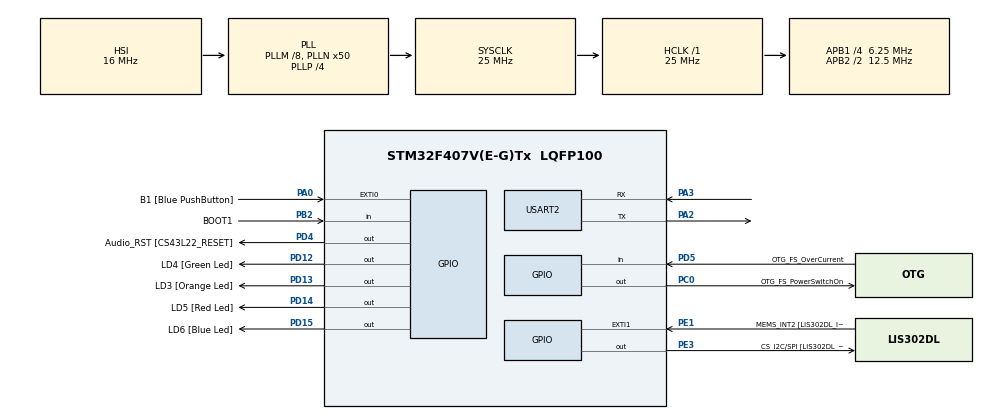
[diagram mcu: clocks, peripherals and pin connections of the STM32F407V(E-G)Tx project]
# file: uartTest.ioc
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Mcu.Family=STM32F4
Mcu.Name=STM32F407V(E-G)Tx
Mcu.Package=LQFP100
NVIC.PriorityGroup=NVIC_PRIORITYGROUP_0
PA0-WKUP.GPIO_Label=B1 [Blue PushButton]
PA0-WKUP.Signal=GPXTI0
PA10.GPIO_Label=OTG_FS_ID
PA10.GPIO_Mode=GPIO_MODE_AF_PP
PA10.GPIO_PuPd=GPIO_NOPULL
PA10.GPIO_Speed=GPIO_SPEED_FREQ_LOW
PA10.Signal=USB_OTG_FS_ID
PA11.GPIO_Label=OTG_FS_DM
PA11.GPIO_Mode=GPIO_MODE_AF_PP
PA11.GPIO_PuPd=GPIO_NOPULL
PA11.GPIO_Speed=GPIO_SPEED_FREQ_LOW
PA11.Signal=USB_OTG_FS_DM
PA12.GPIO_Label=OTG_FS_DP
PA12.GPIO_Mode=GPIO_MODE_AF_PP
PA12.GPIO_PuPd=GPIO_NOPULL
PA12.GPIO_Speed=GPIO_SPEED_FREQ_LOW
PA12.Signal=USB_OTG_FS_DP
PA13.GPIO_Label=SWDIO
PA13.Signal=SYS_JTMS-SWDIO
PA14.GPIO_Label=SWCLK
PA14.Signal=SYS_JTCK-SWCLK
PA2.Mode=Asynchronous
PA2.Signal=USART2_TX
PA3.Mode=Asynchronous
PA3.Signal=USART2_RX
PA4.GPIO_Label=I2S3_WS [CS43L22_LRCK]
PA4.GPIO_Mode=GPIO_MODE_AF_PP
PA4.GPIO_PuPd=GPIO_NOPULL
PA4.GPIO_Speed=GPIO_SPEED_FREQ_LOW
PA4.Signal=I2S3_WS
PA5.GPIO_Label=SPI1_SCK [LIS302DL_SCL/SPC]
PA5.GPIO_Mode=GPIO_MODE_AF_PP
PA5.GPIO_PuPd=GPIO_NOPULL
PA5.GPIO_Speed=GPIO_SPEED_FREQ_LOW
PA5.Signal=SPI1_SCK
PA6.GPIO_Label=SPI1_MISO [LIS302DL_SDO]
PA6.GPIO_Mode=GPIO_MODE_AF_PP
PA6.GPIO_PuPd=GPIO_NOPULL
PA6.GPIO_Speed=GPIO_SPEED_FREQ_LOW
PA6.Signal=SPI1_MISO
PA7.GPIO_Label=SPI1_MOSI [LIS302DL_SDA/SDI/SDO]
PA7.GPIO_Mode=GPIO_MODE_AF_PP
PA7.GPIO_PuPd=GPIO_NOPULL
PA7.GPIO_Speed=GPIO_SPEED_FREQ_LOW
PA7.Signal=SPI1_MOSI
PA9.GPIO_Label=VBUS_FS
PA9.GPIO_Mode=GPIO_MODE_INPUT
PA9.GPIO_PuPd=GPIO_NOPULL
PA9.Signal=USB_OTG_FS_VBUS
PB10.GPIO_Label=CLK_IN [MP45DT02_CLK]
PB10.GPIO_Mode=GPIO_MODE_AF_PP
PB10.GPIO_PuPd=GPIO_NOPULL
PB10.GPIO_Speed=GPIO_SPEED_FREQ_LOW
PB10.Signal=I2S2_CK
PB2.GPIO_Label=BOOT1
PB2.GPIO_Mode=GPIO_MODE_INPUT
PB2.GPIO_PuPd=GPIO_NOPULL
PB2.Signal=GPIO_Input
PB3.GPIO_Label=SWO
PB3.Signal=SYS_JTDO-SWO
PB6.GPIO_Label=Audio_SCL [CS43L22_SCL]
PB6.GPIO_Mode=GPIO_MODE_AF_OD
PB6.GPIO_PuPd=GPIO_NOPULL
PB6.GPIO_Speed=GPIO_SPEED_FREQ_LOW
PB6.Signal=I2C1_SCL
PB9.GPIO_Label=Audio_SDA [CS43L22_SDA]
PB9.GPIO_Mode=GPIO_MODE_AF_OD
PB9.GPIO_PuPd=GPIO_NOPULL
PB9.GPIO_Speed=GPIO_SPEED_FREQ_LOW
PB9.Signal=I2C1_SDA
PC0.GPIO_Label=OTG_FS_PowerSwitchOn
PC0.GPIO_PuPd=GPIO_NOPULL
PC0.GPIO_Speed=GPIO_SPEED_FREQ_LOW
PC0.PinState=GPIO_PIN_SET
PC0.Signal=GPIO_Output
PC10.GPIO_Label=I2S3_SCK [CS43L22_SCLK]
PC10.GPIO_Mode=GPIO_MODE_AF_PP
PC10.GPIO_PuPd=GPIO_NOPULL
PC10.GPIO_Speed=GPIO_SPEED_FREQ_LOW
PC10.Signal=I2S3_CK
PC12.GPIO_Label=I2S3_SD [CS43L22_SDIN]
PC12.GPIO_Mode=GPIO_MODE_AF_PP
PC12.GPIO_PuPd=GPIO_NOPULL
PC12.GPIO_Speed=GPIO_SPEED_FREQ_LOW
PC12.Signal=I2S3_SD
PC14-OSC32_IN.GPIO_Label=PC14-OSC32_IN
PC14-OSC32_IN.Signal=RCC_OSC32_IN
PC15-OSC32_OUT.GPIO_Label=PC15-OSC32_OUT
PC15-OSC32_OUT.Signal=RCC_OSC32_OUT
PC3.GPIO_Label=PDM_OUT [MP45DT02_DOUT]
PC3.GPIO_Mode=GPIO_MODE_AF_PP
PC3.GPIO_PuPd=GPIO_NOPULL
PC3.GPIO_Speed=GPIO_SPEED_FREQ_LOW
PC3.Signal=I2S2_SD
PC7.GPIO_Label=I2S3_MCK [CS43L22_MCLK]
PC7.GPIO_Mode=GPIO_MODE_AF_PP
PC7.GPIO_PuPd=GPIO_NOPULL
PC7.GPIO_Speed=GPIO_SPEED_FREQ_LOW
PC7.Signal=I2S3_MCK
PD12.GPIO_Label=LD4 [Green Led]
PD12.GPIO_PuPd=GPIO_NOPULL
PD12.GPIO_Speed=GPIO_SPEED_FREQ_LOW
PD12.Signal=GPIO_Output
PD13.GPIO_Label=LD3 [Orange Led]
PD13.GPIO_PuPd=GPIO_NOPULL
PD13.GPIO_Speed=GPIO_SPEED_FREQ_LOW
PD13.Signal=GPIO_Output
PD14.GPIO_Label=LD5 [Red Led]
PD14.GPIO_PuPd=GPIO_NOPULL
PD14.GPIO_Speed=GPIO_SPEED_FREQ_LOW
PD14.Signal=GPIO_Output
PD15.GPIO_Label=LD6 [Blue Led]
PD15.GPIO_PuPd=GPIO_NOPULL
PD15.GPIO_Speed=GPIO_SPEED_FREQ_LOW
PD15.Signal=GPIO_Output
PD4.GPIO_Label=Audio_RST [CS43L22_RESET]
PD4.GPIO_PuPd=GPIO_NOPULL
PD4.GPIO_Speed=GPIO_SPEED_FREQ_LOW
PD4.Signal=GPIO_Output
PD5.GPIO_Label=OTG_FS_OverCurrent
PD5.GPIO_Mode=GPIO_MODE_INPUT
PD5.GPIO_PuPd=GPIO_NOPULL
PD5.Signal=GPIO_Input
PE1.GPIO_Label=MEMS_INT2 [LIS302DL_INT2]
PE1.GPIO_ModeDefaultEXTI=GPIO_MODE_EVT_RISING
PE1.GPIO_PuPd=GPIO_NOPULL
PE1.Signal=GPXTI1
PE3.GPIO_Label=CS_I2C/SPI [LIS302DL_CS_I2C/SPI]
PE3.GPIO_PuPd=GPIO_NOPULL
PE3.GPIO_Speed=GPIO_SPEED_FREQ_LOW
PE3.Signal=GPIO_Output
PH0-OSC_IN.GPIO_Label=PH0-OSC_IN
PH0-OSC_IN.Signal=RCC_OSC_IN
PH1-OSC_OUT.GPIO_Label=PH1-OSC_OUT
PH1-OSC_OUT.Signal=RCC_OSC_OUT
ProjectManager.HeapSize=0x200
ProjectManager.StackSize=0x400
ProjectManager.TargetToolchain=MDK-ARM V5.32
RCC.48MHZClocksFreq_Value=14285714.285714285
RCC.AHBFreq_Value=25000000
RCC.APB1CLKDivider=RCC_HCLK_DIV4
RCC.APB1Freq_Value=6250000
RCC.APB1TimFreq_Value=12500000
RCC.APB2CLKDivider=RCC_HCLK_DIV2
RCC.APB2Freq_Value=12500000
RCC.APB2TimFreq_Value=25000000
RCC.CortexFreq_Value=25000000
RCC.HCLKFreq_Value=25000000
RCC.HSE_VALUE=8000000
RCC.HSI_VALUE=16000000
RCC.LSE_VALUE=32768
RCC.PLLM=8
RCC.PLLN=50
RCC.PLLP=RCC_PLLP_DIV4
RCC.PLLQ=7
RCC.SYSCLKFreq_VALUE=25000000
RCC.SYSCLKSource=RCC_SYSCLKSOURCE_PLLCLK
RCC.VCOOutputFreq_Value=100000000
USART2.VirtualMode=VM_ASYNC
board=STM32F407G-DISC1

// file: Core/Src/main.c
/* USER CODE BEGIN Header */
/**
  ******************************************************************************
  * @file           : main.c
  * @brief          : Main program body
  ******************************************************************************
  * @attention
  *
  * Copyright (c) 2024 STMicroelectronics.
  * All rights reserved.
  *
  * This software is licensed under terms that can be found in the LICENSE file
  * in the root directory of this software component.
  * If no LICENSE file comes with this software, it is provided AS-IS.
  *
  ******************************************************************************
  */
/* USER CODE END Header */
#include "main.h"
#include "string.h"

UART_HandleTypeDef huart2;

void SystemClock_Config(void);
static void MX_GPIO_Init(void);
static void MX_USART2_UART_Init(void);

/* USER CODE BEGIN PFP */
uint8_t USART2_ReceiveByte(void);
void USART2_SendByte(uint8_t byte);
void readString(const char *str);
char ReadChar(const char str, int index);
void led_on(const char *str);
/* USER CODE END PFP */

/* USER CODE BEGIN 0 */
void USART2_SendByte(uint8_t byte) {
	while ((USART2->SR & USART_SR_TXE) == 0){}
    USART2->DR = byte;
}

void led_on(const char *str) {
		if(strcmp(str, "Led On")) {
			HAL_GPIO_TogglePin(GPIOD, GPIO_PIN_15);//blue led
		}
}
void readString(const char *str) {
	const uint32_t rbuf_size=6;
	static char rbuf[rbuf_size];
	static uint32_t pos = 0;
	char buff;
	int lenght = strlen(str);
	while(*str) {
		while ((USART2->SR & USART_SR_TXE) == 0){};
			USART2->DR = str[pos];
			while ((USART2->SR & USART_SR_RXNE) == 0) {};
			rbuf[pos] = USART2->DR;
			if((rbuf_size - 1) == pos || rbuf[pos] == '\0') {
				pos = 0;
				led_on(rbuf);
			} else {
				pos++;
				str++;
				HAL_GPIO_TogglePin(GPIOD, GPIO_PIN_13);// orange led
				HAL_Delay(1000);
			}
	}
}

char ReadChar(const char str, int index) {
	char buff[1];
	//while ((USART2->SR & USART_SR_RXNE) == 0);
	return buff[0] = str;

}
uint8_t USART2_ReceiveByte(void) {
   // while ((USART2->SR & USART_SR_RXNE) == 0);
    return USART2->DR;
}
/* USER CODE END 0 */

int main(void)
{
  /* USER CODE BEGIN 1 */
USART2->CR1 |= 1 << 3;
	USART2->CR1 |= 1 << 13;
	USART2->CR1 |= 0 << 8;
	USART2->CR1 |= 0 << 7;
	USART2->CR1 |= 0 << 6;
  /* USER CODE END 1 */

  /* MCU Configuration--------------------------------------------------------*/

  /* Reset of all peripherals, Initializes the Flash interface and the Systick. */
  HAL_Init();

  /* Configure the system clock */
  SystemClock_Config();

  /* Initialize all configured peripherals */
  MX_GPIO_Init();
  MX_USART2_UART_Init();

  /* Infinite loop */
  /* USER CODE BEGIN WHILE */
  while (1)
  {

			const char LedOn[] = "Led On";
			readString(LedOn);

			HAL_Delay(1000);
			HAL_GPIO_TogglePin(GPIOD, GPIO_PIN_12);// green led
    /* USER CODE END WHILE */

  }
}

void SystemClock_Config(void)
{
  RCC_OscInitTypeDef RCC_OscInitStruct = {0};
  RCC_ClkInitTypeDef RCC_ClkInitStruct = {0};

  /** Configure the main internal regulator output voltage
  */
  __HAL_RCC_PWR_CLK_ENABLE();
  __HAL_PWR_VOLTAGESCALING_CONFIG(PWR_REGULATOR_VOLTAGE_SCALE1);
  /** Initializes the RCC Oscillators according to the specified parameters
  * in the RCC_OscInitTypeDef structure.
  */
  RCC_OscInitStruct.OscillatorType = RCC_OSCILLATORTYPE_HSI;
  RCC_OscInitStruct.HSIState = RCC_HSI_ON;
  RCC_OscInitStruct.HSICalibrationValue = RCC_HSICALIBRATION_DEFAULT;
  RCC_OscInitStruct.PLL.PLLState = RCC_PLL_ON;
  RCC_OscInitStruct.PLL.PLLSource = RCC_PLLSOURCE_HSI;
  RCC_OscInitStruct.PLL.PLLM = 8;
  RCC_OscInitStruct.PLL.PLLN = 50;
  RCC_OscInitStruct.PLL.PLLP = RCC_PLLP_DIV4;
  RCC_OscInitStruct.PLL.PLLQ = 7;
  if (HAL_RCC_OscConfig(&RCC_OscInitStruct) != HAL_OK)
  {
    Error_Handler();
  }
  /** Initializes the CPU, AHB and APB buses clocks
  */
  RCC_ClkInitStruct.ClockType = RCC_CLOCKTYPE_HCLK|RCC_CLOCKTYPE_SYSCLK
                              |RCC_CLOCKTYPE_PCLK1|RCC_CLOCKTYPE_PCLK2;
  RCC_ClkInitStruct.SYSCLKSource = RCC_SYSCLKSOURCE_PLLCLK;
  RCC_ClkInitStruct.AHBCLKDivider = RCC_SYSCLK_DIV1;
  RCC_ClkInitStruct.APB1CLKDivider = RCC_HCLK_DIV4;
  RCC_ClkInitStruct.APB2CLKDivider = RCC_HCLK_DIV2;

  if (HAL_RCC_ClockConfig(&RCC_ClkInitStruct, FLASH_LATENCY_0) != HAL_OK)
  {
    Error_Handler();
  }
}

static void MX_USART2_UART_Init(void)
{

  /* USER CODE BEGIN USART2_Init 0 */
	RCC->APB1ENR |= RCC_APB1ENR_USART2EN;

	GPIOA->MODER |= GPIO_MODER_MODER2_1 | GPIO_MODER_MODER3_1;
    GPIOA->AFR[0] |= (7 << 8) | (7 << 12);

	USART2->CR1 |= USART_CR1_TE | USART_CR1_RE | USART_CR1_UE;
  /* USER CODE END USART2_Init 0 */

  huart2.Instance = USART2;
  huart2.Init.BaudRate = 115200;
  huart2.Init.WordLength = UART_WORDLENGTH_8B;
  huart2.Init.StopBits = UART_STOPBITS_1;
  huart2.Init.Parity = UART_PARITY_NONE;
  huart2.Init.Mode = UART_MODE_TX_RX;
  huart2.Init.HwFlowCtl = UART_HWCONTROL_NONE;
  huart2.Init.OverSampling = UART_OVERSAMPLING_16;
  if (HAL_UART_Init(&huart2) != HAL_OK)
  {
    Error_Handler();
  }

}

static void MX_GPIO_Init(void)
{
  GPIO_InitTypeDef GPIO_InitStruct = {0};

  /* GPIO Ports Clock Enable */
  __HAL_RCC_GPIOE_CLK_ENABLE();
  __HAL_RCC_GPIOC_CLK_ENABLE();
  __HAL_RCC_GPIOH_CLK_ENABLE();
  __HAL_RCC_GPIOA_CLK_ENABLE();
  __HAL_RCC_GPIOB_CLK_ENABLE();
  __HAL_RCC_GPIOD_CLK_ENABLE();

  /*Configure GPIO pin Output Level */
  HAL_GPIO_WritePin(CS_I2C_SPI_GPIO_Port, CS_I2C_SPI_Pin, GPIO_PIN_RESET);

  /*Configure GPIO pin Output Level */
  HAL_GPIO_WritePin(OTG_FS_PowerSwitchOn_GPIO_Port, OTG_FS_PowerSwitchOn_Pin, GPIO_PIN_SET);

  /*Configure GPIO pin Output Level */
  HAL_GPIO_WritePin(GPIOD, LD4_Pin|LD3_Pin|LD5_Pin|LD6_Pin
                          |Audio_RST_Pin, GPIO_PIN_RESET);

  /*Configure GPIO pin : CS_I2C_SPI_Pin */
  GPIO_InitStruct.Pin = CS_I2C_SPI_Pin;
  GPIO_InitStruct.Mode = GPIO_MODE_OUTPUT_PP;
  GPIO_InitStruct.Pull = GPIO_NOPULL;
  GPIO_InitStruct.Speed = GPIO_SPEED_FREQ_LOW;
  HAL_GPIO_Init(CS_I2C_SPI_GPIO_Port, &GPIO_InitStruct);

  /*Configure GPIO pin : OTG_FS_PowerSwitchOn_Pin */
  GPIO_InitStruct.Pin = OTG_FS_PowerSwitchOn_Pin;
  GPIO_InitStruct.Mode = GPIO_MODE_OUTPUT_PP;
  GPIO_InitStruct.Pull = GPIO_NOPULL;
  GPIO_InitStruct.Speed = GPIO_SPEED_FREQ_LOW;
  HAL_GPIO_Init(OTG_FS_PowerSwitchOn_GPIO_Port, &GPIO_InitStruct);

  /*Configure GPIO pin : PDM_OUT_Pin */
  GPIO_InitStruct.Pin = PDM_OUT_Pin;
  GPIO_InitStruct.Mode = GPIO_MODE_AF_PP;
  GPIO_InitStruct.Pull = GPIO_NOPULL;
  GPIO_InitStruct.Speed = GPIO_SPEED_FREQ_LOW;
  GPIO_InitStruct.Alternate = GPIO_AF5_SPI2;
  HAL_GPIO_Init(PDM_OUT_GPIO_Port, &GPIO_InitStruct);

  /*Configure GPIO pin : B1_Pin */
  GPIO_InitStruct.Pin = B1_Pin;
  GPIO_InitStruct.Mode = GPIO_MODE_IT_RISING;
  GPIO_InitStruct.Pull = GPIO_NOPULL;
  HAL_GPIO_Init(B1_GPIO_Port, &GPIO_InitStruct);

  /*Configure GPIO pin : I2S3_WS_Pin */
  GPIO_InitStruct.Pin = I2S3_WS_Pin;
  GPIO_InitStruct.Mode = GPIO_MODE_AF_PP;
  GPIO_InitStruct.Pull = GPIO_NOPULL;
  GPIO_InitStruct.Speed = GPIO_SPEED_FREQ_LOW;
  GPIO_InitStruct.Alternate = GPIO_AF6_SPI3;
  HAL_GPIO_Init(I2S3_WS_GPIO_Port, &GPIO_InitStruct);

  /*Configure GPIO pins : SPI1_SCK_Pin SPI1_MISO_Pin SPI1_MOSI_Pin */
  GPIO_InitStruct.Pin = SPI1_SCK_Pin|SPI1_MISO_Pin|SPI1_MOSI_Pin;
  GPIO_InitStruct.Mode = GPIO_MODE_AF_PP;
  GPIO_InitStruct.Pull = GPIO_NOPULL;
  GPIO_InitStruct.Speed = GPIO_SPEED_FREQ_LOW;
  GPIO_InitStruct.Alternate = GPIO_AF5_SPI1;
  HAL_GPIO_Init(GPIOA, &GPIO_InitStruct);

  /*Configure GPIO pin : BOOT1_Pin */
  GPIO_InitStruct.Pin = BOOT1_Pin;
  GPIO_InitStruct.Mode = GPIO_MODE_INPUT;
  GPIO_InitStruct.Pull = GPIO_NOPULL;
  HAL_GPIO_Init(BOOT1_GPIO_Port, &GPIO_InitStruct);

  /*Configure GPIO pin : CLK_IN_Pin */
  GPIO_InitStruct.Pin = CLK_IN_Pin;
  GPIO_InitStruct.Mode = GPIO_MODE_AF_PP;
  GPIO_InitStruct.Pull = GPIO_NOPULL;
  GPIO_InitStruct.Speed = GPIO_SPEED_FREQ_LOW;
  GPIO_InitStruct.Alternate = GPIO_AF5_SPI2;
  HAL_GPIO_Init(CLK_IN_GPIO_Port, &GPIO_InitStruct);

  /*Configure GPIO pins : LD4_Pin LD3_Pin LD5_Pin LD6_Pin
                           Audio_RST_Pin */
  GPIO_InitStruct.Pin = LD4_Pin|LD3_Pin|LD5_Pin|LD6_Pin
                          |Audio_RST_Pin;
  GPIO_InitStruct.Mode = GPIO_MODE_OUTPUT_PP;
  GPIO_InitStruct.Pull = GPIO_NOPULL;
  GPIO_InitStruct.Speed = GPIO_SPEED_FREQ_LOW;
  HAL_GPIO_Init(GPIOD, &GPIO_InitStruct);

  /*Configure GPIO pins : I2S3_MCK_Pin I2S3_SCK_Pin I2S3_SD_Pin */
  GPIO_InitStruct.Pin = I2S3_MCK_Pin|I2S3_SCK_Pin|I2S3_SD_Pin;
  GPIO_InitStruct.Mode = GPIO_MODE_AF_PP;
  GPIO_InitStruct.Pull = GPIO_NOPULL;
  GPIO_InitStruct.Speed = GPIO_SPEED_FREQ_LOW;
  GPIO_InitStruct.Alternate = GPIO_AF6_SPI3;
  HAL_GPIO_Init(GPIOC, &GPIO_InitStruct);

  /*Configure GPIO pin : VBUS_FS_Pin */
  GPIO_InitStruct.Pin = VBUS_FS_Pin;
  GPIO_InitStruct.Mode = GPIO_MODE_INPUT;
  GPIO_InitStruct.Pull = GPIO_NOPULL;
  HAL_GPIO_Init(VBUS_FS_GPIO_Port, &GPIO_InitStruct);

  /*Configure GPIO pins : OTG_FS_ID_Pin OTG_FS_DM_Pin OTG_FS_DP_Pin */
  GPIO_InitStruct.Pin = OTG_FS_ID_Pin|OTG_FS_DM_Pin|OTG_FS_DP_Pin;
  GPIO_InitStruct.Mode = GPIO_MODE_AF_PP;
  GPIO_InitStruct.Pull = GPIO_NOPULL;
  GPIO_InitStruct.Speed = GPIO_SPEED_FREQ_LOW;
  GPIO_InitStruct.Alternate = GPIO_AF10_OTG_FS;
  HAL_GPIO_Init(GPIOA, &GPIO_InitStruct);

  /*Configure GPIO pin : OTG_FS_OverCurrent_Pin */
  GPIO_InitStruct.Pin = OTG_FS_OverCurrent_Pin;
  GPIO_InitStruct.Mode = GPIO_MODE_INPUT;
  GPIO_InitStruct.Pull = GPIO_NOPULL;
  HAL_GPIO_Init(OTG_FS_OverCurrent_GPIO_Port, &GPIO_InitStruct);

  /*Configure GPIO pins : Audio_SCL_Pin Audio_SDA_Pin */
  GPIO_InitStruct.Pin = Audio_SCL_Pin|Audio_SDA_Pin;
  GPIO_InitStruct.Mode = GPIO_MODE_AF_OD;
  GPIO_InitStruct.Pull = GPIO_NOPULL;
  GPIO_InitStruct.Speed = GPIO_SPEED_FREQ_LOW;
  GPIO_InitStruct.Alternate = GPIO_AF4_I2C1;
  HAL_GPIO_Init(GPIOB, &GPIO_InitStruct);

  /*Configure GPIO pin : MEMS_INT2_Pin */
  GPIO_InitStruct.Pin = MEMS_INT2_Pin;
  GPIO_InitStruct.Mode = GPIO_MODE_EVT_RISING;
  GPIO_InitStruct.Pull = GPIO_NOPULL;
  HAL_GPIO_Init(MEMS_INT2_GPIO_Port, &GPIO_InitStruct);

}

void Error_Handler(void)
{
  __disable_irq();
  while (1)
  {
  }
}
